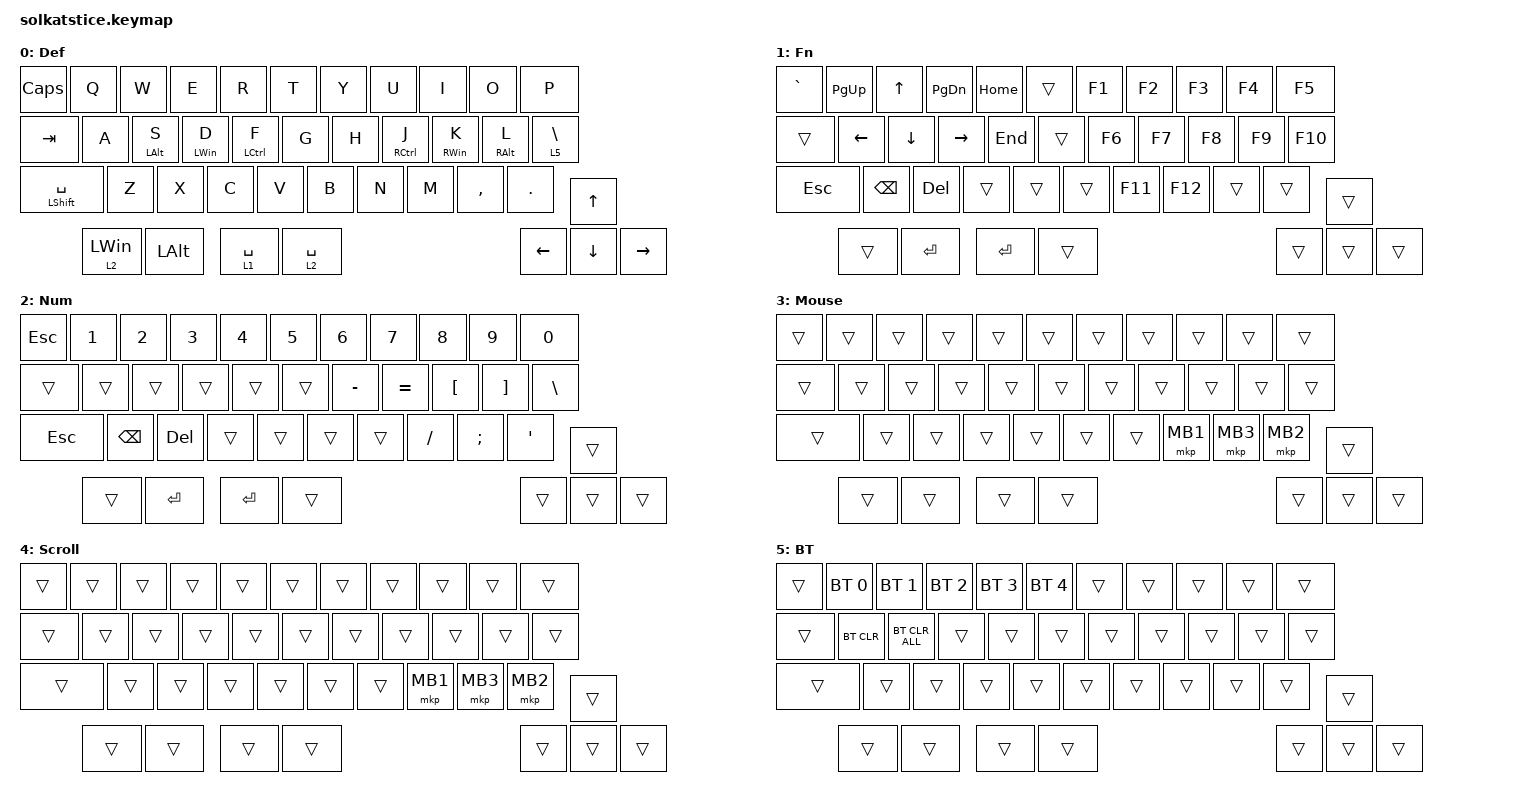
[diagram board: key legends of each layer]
#include <behaviors.dtsi>
#include <dt-bindings/zmk/keys.h>
#include <dt-bindings/zmk/pointing.h>
#include <dt-bindings/zmk/bt.h>
#include <dt-bindings/zmk/outputs.h>
#include <physical_layouts.dtsi>

#define FUNCTION 1
#define NUM 2
#define MOUSE 3
#define SCROLL 4
#define BT 5

&mt {
    tapping-term-ms = <500>;
};

/ {
  chosen {
    zmk,physical-layout = &kat_physical_layout;
  };

  kat_physical_layout: kat_physical_layout {
      compatible = "zmk,physical-layout";
      display-name = "Default";
      transform = <&default_transform>;
      kscan = <&kscan0>;
      keys  //                     w   h    x    y     rot    rx    ry
          = <&key_physical_attrs 100 100    0    0       0     0     0>
          , <&key_physical_attrs 100 100  100    0       0     0     0>
          , <&key_physical_attrs 100 100  200    0       0     0     0>
          , <&key_physical_attrs 100 100  300    0       0     0     0>
          , <&key_physical_attrs 100 100  400    0       0     0     0>
          , <&key_physical_attrs 100 100  500    0       0     0     0>
          , <&key_physical_attrs 100 100  600    0       0     0     0>
          , <&key_physical_attrs 100 100  700    0       0     0     0>
          , <&key_physical_attrs 100 100  800    0       0     0     0>
          , <&key_physical_attrs 100 100  900    0       0     0     0>
          , <&key_physical_attrs 125 100 1000    0       0     0     0>
          , <&key_physical_attrs 125 100    0  100       0     0     0>
          , <&key_physical_attrs 100 100  125  100       0     0     0>
          , <&key_physical_attrs 100 100  225  100       0     0     0>
          , <&key_physical_attrs 100 100  325  100       0     0     0>
          , <&key_physical_attrs 100 100  425  100       0     0     0>
          , <&key_physical_attrs 100 100  525  100       0     0     0>
          , <&key_physical_attrs 100 100  625  100       0     0     0>
          , <&key_physical_attrs 100 100  725  100       0     0     0>
          , <&key_physical_attrs 100 100  825  100       0     0     0>
          , <&key_physical_attrs 100 100  925  100       0     0     0>
          , <&key_physical_attrs 100 100 1025  100       0     0     0>
          , <&key_physical_attrs 175 100    0  200       0     0     0>
          , <&key_physical_attrs 100 100  175  200       0     0     0>
          , <&key_physical_attrs 100 100  275  200       0     0     0>
          , <&key_physical_attrs 100 100  375  200       0     0     0>
          , <&key_physical_attrs 100 100  475  200       0     0     0>
          , <&key_physical_attrs 100 100  575  200       0     0     0>
          , <&key_physical_attrs 100 100  675  200       0     0     0>
          , <&key_physical_attrs 100 100  775  200       0     0     0>
          , <&key_physical_attrs 100 100  875  200       0     0     0>
          , <&key_physical_attrs 100 100  975  200       0     0     0>
          , <&key_physical_attrs 100 100 1100  225       0     0     0>
          , <&key_physical_attrs 125 100  125  325       0     0     0>
          , <&key_physical_attrs 125 100  250  325       0     0     0>
          , <&key_physical_attrs 125 100  400  325       0     0     0>
          , <&key_physical_attrs 125 100  525  325       0     0     0>
          , <&key_physical_attrs 100 100 1000  325       0     0     0>
          , <&key_physical_attrs 100 100 1100  325       0     0     0>
          , <&key_physical_attrs 100 100 1200  325       0     0     0>
          ;
    };

    macros {
        mLCTL: mLCTL {
            compatible = "zmk,behavior-macro";
            #binding-cells = <0>;
            bindings = <&macro_tap &kp LCTRL>;
        };
        mF13: mF13 {
            compatible = "zmk,behavior-macro";
            #binding-cells = <0>;
            bindings = <&macro_tap &kp F13>
                     , <&leader1>;
        };
        mF14: mF14 {
            compatible = "zmk,behavior-macro";
            #binding-cells = <0>;
            bindings = <&macro_tap &kp F14>;
        };
        mF15: mF15 {
            compatible = "zmk,behavior-macro";
            #binding-cells = <0>;
            bindings = <&macro_tap &kp F15>
                     , <&leader2>;
        };
        mF16: mF16 {
            compatible = "zmk,behavior-macro";
            #binding-cells = <0>;
            bindings = <&macro_tap &kp F16>
                    , <&leader3>;
        };
        mF17: mF17 {
            compatible = "zmk,behavior-macro";
            #binding-cells = <0>;
            bindings = <&macro_tap &kp F17>;
        };
        mF18: mF18 {
            compatible = "zmk,behavior-macro";
            #binding-cells = <0>;
            bindings = <&macro_tap &kp F18>
                    , <&leader4>;
        };
        mESC: mESC {
            compatible = "zmk,behavior-macro";
            #binding-cells = <0>;
            bindings = <&macro_tap &kp ESC>;
        };
    };

    behaviors {
        leader1: leader1 {
            compatible = "zmk,behavior-leader-key";
            #binding-cells = <0>;
            leftdown { sequence = <F14 F15>; bindings = <&kp PG_DN>; };
            out { sequence = <O U T>; bindings = <&out OUT_TOG>; };
        };
        leader2: leader2 {
            compatible = "zmk,behavior-leader-key";
            #binding-cells = <0>;
            leftup   { sequence = <F14 F13>; bindings = <&kp PG_UP>; };
        };
        leader3: leader3 {
            compatible = "zmk,behavior-leader-key";
            #binding-cells = <0>;
            rightdown { sequence = <F17 F18>; bindings = <&kp END>; };
        };
        leader4: leader4 {
            compatible = "zmk,behavior-leader-key";
            #binding-cells = <0>;
            rightup   { sequence = <F17 F16>; bindings = <&kp HOME>; };
        };
    }; 

    keymap {
        compatible = "zmk,keymap";

        default_layer {
            label="Def";
            bindings = <
&kp CAPS         &kp Q            &kp W            &kp E            &kp R            &kp T            &kp Y            &kp U            &kp I            &kp O             &kp P  
&kp TAB          &kp A            &mt LEFT_ALT S   &mt LEFT_WIN D   &mt LCTRL F      &kp G            &kp H            &mt RCTRL J      &mt RIGHT_WIN K  &mt RIGHT_ALT L   &lt 5 BSLH  
&mt LSHFT SPACE  &kp Z            &kp X            &kp C            &kp V            &kp B            &kp N            &kp M            &kp COMMA        &kp DOT           &kp UP  
                 &lt 2 LWIN       &kp LALT         &lt 1 SPACE      &lt 2 SPACE                                                         &kp LEFT         &kp DOWN          &kp RIGHT
            >;
        };

        function_layer {
            label="Fn";
            bindings = <
&kp GRAVE        &kp PG_UP        &kp UP           &kp PG_DN        &kp HOME         &trans           &kp F1           &kp F2           &kp F3           &kp F4            &kp F5  
&trans           &kp LEFT         &kp DOWN         &kp RIGHT        &kp END          &trans           &kp F6           &kp F7           &kp F8           &kp F9            &kp F10  
&kp ESCAPE       &kp BACKSPACE    &kp DEL          &trans           &trans           &trans           &kp F11          &kp F12          &trans           &trans            &trans  
                 &trans           &kp ENTER        &kp ENTER        &trans                                                              &trans           &trans            &trans
            >;
        };

        num_layer {
            label="Num";
            bindings = <
&kp ESC           &kp N1          &kp N2           &kp N3           &kp N4           &kp N5           &kp N6           &kp N7           &kp N8           &kp N9            &kp N0  
&trans            &trans          &trans           &trans           &trans           &trans           &kp MINUS        &kp EQUAL        &kp LBKT         &kp RBKT          &kp BSLH  
&kp ESCAPE        &kp BACKSPACE   &kp DEL          &trans           &trans           &trans           &trans           &kp FSLH         &kp SEMI         &kp SQT           &trans  
                  &trans          &kp ENTER        &kp ENTER        &trans                                                              &trans           &trans            &trans
            >;
        };

        mouse_layer {
            label="Mouse";
            bindings = <
&trans           &trans           &trans           &trans           &trans           &trans           &trans           &trans           &trans           &trans            &trans  
&trans           &trans           &trans           &trans           &trans           &trans           &trans           &trans           &trans           &trans            &trans  
&trans           &trans           &trans           &trans           &trans           &trans           &trans           &mkp MB1         &mkp MB3         &mkp MB2          &trans  
                 &trans           &trans           &trans           &trans                                                              &trans           &trans            &trans
            >;
        };

        scroll_layer {
            label="Scroll";
            bindings = <
&trans           &trans           &trans           &trans           &trans           &trans           &trans           &trans           &trans           &trans            &trans  
&trans           &trans           &trans           &trans           &trans           &trans           &trans           &trans           &trans           &trans            &trans  
&trans           &trans           &trans           &trans           &trans           &trans           &trans           &mkp MB1         &mkp MB3         &mkp MB2          &trans  
                 &trans           &trans           &trans           &trans                                                              &trans           &trans            &trans
            >;
        };

        bt_layer {
            label="BT";
            bindings = <
&trans           &bt BT_SEL 0     &bt BT_SEL 1     &bt BT_SEL 2     &bt BT_SEL 3     &bt BT_SEL 4     &trans           &trans           &trans           &trans           &trans  
&trans           &bt BT_CLR       &bt BT_CLR_ALL   &trans           &trans           &trans           &trans           &trans           &trans           &trans           &trans  
&trans           &trans           &trans           &trans           &trans           &trans           &trans           &trans           &trans           &trans           &trans  
                 &trans           &trans           &trans           &trans                                                              &trans           &trans           &trans
            >;
        };
    };
};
